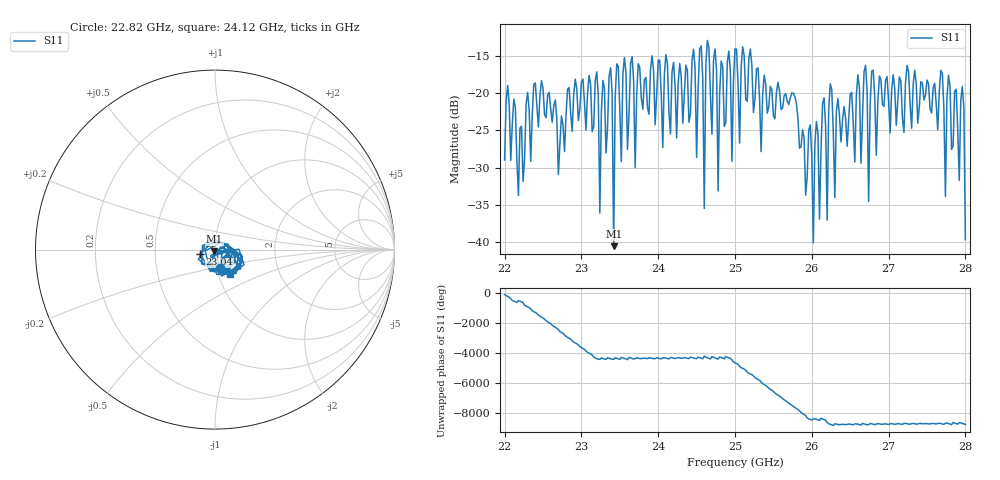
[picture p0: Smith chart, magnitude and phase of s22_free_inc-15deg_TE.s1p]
#  HZ  S  RI  R  50.00
! Rohde & Schwarz ZVA40 4Ports - Version 3.90 - 1145.1110k42 SN: 100403
! Date: 2023-10-04 10:02:59
! Measurement: S22
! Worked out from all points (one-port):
!   301 points, 22 GHz to 28 GHz, reference 50 ohm
!   lowest |S11| = -40.6 dB at 23.42 GHz (marker M1), VSWR 1.02, Z = 49.7 - j0.876 ohm
!   |S11| at or under -10 dB: start of sweep to end of sweep
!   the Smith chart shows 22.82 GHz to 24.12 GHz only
!   S11 on the Smith chart (normalised r, x): 22.82 GHz: 1.03, -0.22; 23.04 GHz: 0.85, -0.04; 24.12 GHz: 1.14, -0.31
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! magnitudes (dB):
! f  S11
! 22 GHz  -29.0
! 22.76 GHz  -24.2
! 22.82 GHz  -19.4
! 23.04 GHz  -21.3
! 23.2 GHz  -17.1
! 23.24 GHz  -36.1
! 23.38 GHz  -16.6
! 23.42 GHz  -40.6
! 23.44 GHz  -20.5
! 23.5 GHz  -22.2
! 24.12 GHz  -16.0
! 24.26 GHz  -18.7
! 24.56 GHz  -13.6
! 24.6 GHz  -35.5
! 24.64 GHz  -12.9
! 24.78 GHz  -33.2
! 25 GHz  -14.0
! 25.76 GHz  -20.0
! 26.02 GHz  -40.1
! 26.5 GHz  -20.1
! 26.7 GHz  -16.2
! 26.74 GHz  -34.6
! 26.78 GHz  -17.0
! 27.26 GHz  -17.1
! 27.7 GHz  -17.3
! 27.74 GHz  -33.9
! 27.96 GHz  -19.1
! 28 GHz  -39.7
